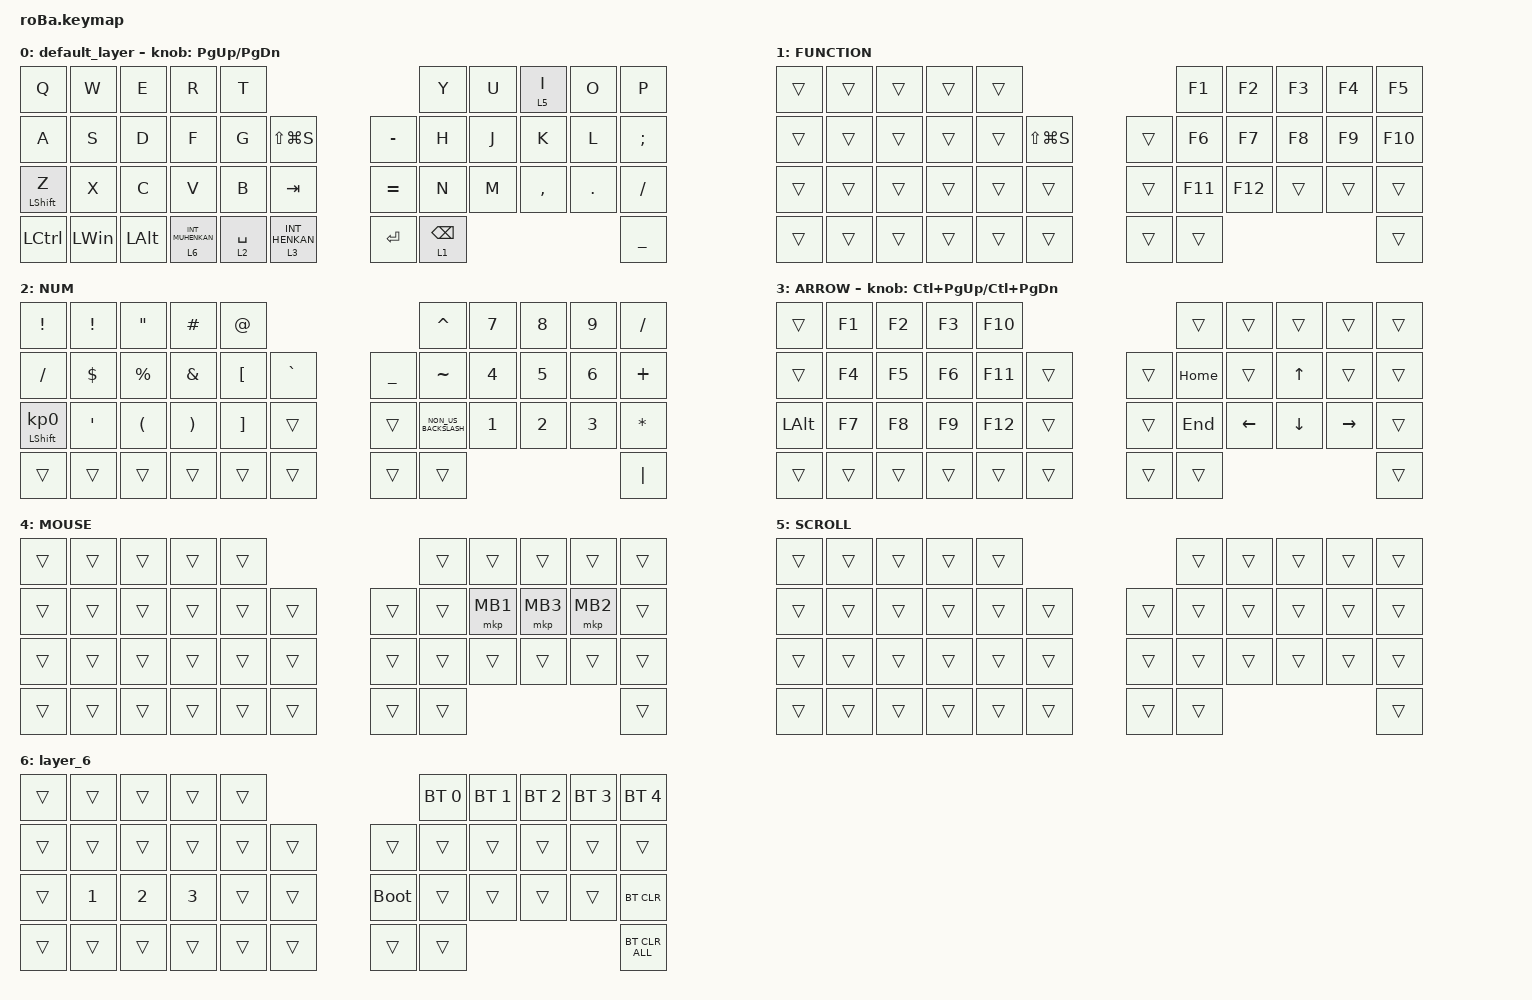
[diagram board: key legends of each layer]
#include <behaviors.dtsi>
#include <dt-bindings/zmk/bt.h>
#include <dt-bindings/zmk/keys.h>
#include <dt-bindings/zmk/pointing.h>

&mt {
    flavor = "balanced";
    quick-tap-ms = <0>;
};

&trackball {
    automouse-layer = <4>;
    scroll-layers = <5>;

    // arrows {
    //     layers = <3>;
    //     bindings =
    //         <&kp RIGHT_ARROW>,
    //         <&kp LEFT_ARROW>,
    //         <&kp UP_ARROW>,
    //         <&kp DOWN_ARROW>;
    //     tick = <10>;
    //     wait-ms = <5>;
    //     tap-ms = <5>;
    // };
};

/ {
    combos {
        compatible = "zmk,combos";

        tab {
            bindings = <&kp TAB>;
            key-positions = <11 12>;
        };

        shift_tab {
            bindings = <&kp LS(TAB)>;
            key-positions = <12 13>;
        };

        muhennkann {
            bindings = <&to_layer_0 INT_MUHENKAN>;
            key-positions = <11 10>;
        };

        double_quotation {
            bindings = <&kp DOUBLE_QUOTES>;
            key-positions = <20 21>;
        };

        eq {
            bindings = <&kp EQUAL>;
            key-positions = <24 25>;
        };
    };

    macros {
        to_layer_0: to_layer_0 {
            compatible = "zmk,behavior-macro-one-param";
            #binding-cells = <1>;
            bindings = <&to 0 &macro_param_1to1 &kp MACRO_PLACEHOLDER>;
            label = "TO_LAYER_0";
        };
    };

    behaviors {
        lt_to_layer_0: lt_to_layer_0 {
            compatible = "zmk,behavior-hold-tap";
            label = "LAYER_TAP_TO_0";
            bindings = <&mo>, <&to_layer_0>;

            #binding-cells = <2>;
            tapping-term-ms = <200>;
        };
    };

    keymap {
        compatible = "zmk,keymap";

        default_layer {
            bindings = <
&kp Q             &kp W         &kp E         &kp R                          &kp T                                                    &kp Y            &kp U  &lt 5 I    &kp O    &kp P
&kp A             &kp S         &kp D         &kp F                          &kp G        &kp LS(LG(S))                    &kp MINUS  &kp H            &kp J  &kp K      &kp L    &kp SEMICOLON
&mt LEFT_SHIFT Z  &kp X         &kp C         &kp V                          &kp B        &kp TAB                          &kp EQUAL  &kp N            &kp M  &kp COMMA  &kp DOT  &kp SLASH
&kp LCTRL         &kp LEFT_WIN  &kp LEFT_ALT  &lt_to_layer_0 6 INT_MUHENKAN  &lt 2 SPACE  &lt_to_layer_0 3 INT_HENKAN      &kp ENTER  &lt 1 BACKSPACE                             &kp UNDERSCORE
            >;

            sensor-bindings = <&inc_dec_kp PG_UP PAGE_DOWN>;
        };

        FUNCTION {
            bindings = <
&trans  &trans  &trans  &trans  &trans                             &kp F1   &kp F2   &kp F3  &kp F4  &kp F5
&trans  &trans  &trans  &trans  &trans  &kp LS(LG(S))      &trans  &kp F6   &kp F7   &kp F8  &kp F9  &kp F10
&trans  &trans  &trans  &trans  &trans  &trans             &trans  &kp F11  &kp F12  &trans  &trans  &trans
&trans  &trans  &trans  &trans  &trans  &trans             &trans  &trans                            &trans
            >;
        };

        NUM {
            bindings = <
&kp EXCLAMATION             &kp EXCLAMATION  &kp DOUBLE_QUOTES     &kp HASH               &kp AT_SIGN                                       &kp CARET             &kp N7        &kp N8        &kp N9        &kp SLASH
&kp SLASH                   &kp DOLLAR       &kp PERCENT           &kp AMPERSAND          &kp LEFT_BRACKET   &kp GRAVE      &kp UNDERSCORE  &kp TILDE             &kp NUMBER_4  &kp N5        &kp NUMBER_6  &kp PLUS
&mt LEFT_SHIFT KP_NUMBER_0  &kp SQT          &kp LEFT_PARENTHESIS  &kp RIGHT_PARENTHESIS  &kp RIGHT_BRACKET  &trans         &trans          &kp NON_US_BACKSLASH  &kp NUMBER_1  &kp NUMBER_2  &kp NUMBER_3  &kp ASTERISK
&trans                      &trans           &trans                &trans                 &trans             &trans         &trans          &trans                                                          &kp PIPE
            >;
        };

        ARROW {
            bindings = <
&trans        &kp F1  &kp F2  &kp F3  &kp F10                      &trans    &trans          &trans          &trans           &trans
&trans        &kp F4  &kp F5  &kp F6  &kp F11  &trans      &trans  &kp HOME  &trans          &kp UP_ARROW    &trans           &trans
&kp LEFT_ALT  &kp F7  &kp F8  &kp F9  &kp F12  &trans      &trans  &kp END   &kp LEFT_ARROW  &kp DOWN_ARROW  &kp RIGHT_ARROW  &trans
&trans        &trans  &trans  &trans  &trans   &trans      &trans  &trans                                                     &trans
            >;

            sensor-bindings = <&inc_dec_kp LC(PAGE_UP) LC(PAGE_DOWN)>;
        };

        MOUSE {
            bindings = <
&trans  &trans  &trans  &trans  &trans                      &trans  &trans    &trans    &trans    &trans
&trans  &trans  &trans  &trans  &trans  &trans      &trans  &trans  &mkp MB1  &mkp MB3  &mkp MB2  &trans
&trans  &trans  &trans  &trans  &trans  &trans      &trans  &trans  &trans    &trans    &trans    &trans
&trans  &trans  &trans  &trans  &trans  &trans      &trans  &trans                                &trans
            >;
        };

        SCROLL {
            bindings = <
&trans  &trans  &trans  &trans  &trans                      &trans  &trans  &trans  &trans  &trans
&trans  &trans  &trans  &trans  &trans  &trans      &trans  &trans  &trans  &trans  &trans  &trans
&trans  &trans  &trans  &trans  &trans  &trans      &trans  &trans  &trans  &trans  &trans  &trans
&trans  &trans  &trans  &trans  &trans  &trans      &trans  &trans                          &trans
            >;
        };

        layer_6 {
            bindings = <
&trans  &trans        &trans        &trans        &trans                           &bt BT_SEL 0  &bt BT_SEL 1  &bt BT_SEL 2  &bt BT_SEL 3  &bt BT_SEL 4
&trans  &trans        &trans        &trans        &trans  &trans      &trans       &trans        &trans        &trans        &trans        &trans
&trans  &kp NUMBER_1  &kp NUMBER_2  &kp NUMBER_3  &trans  &trans      &bootloader  &trans        &trans        &trans        &trans        &bt BT_CLR
&trans  &trans        &trans        &trans        &trans  &trans      &trans       &trans                                                  &bt BT_CLR_ALL
            >;
        };
    };
};
